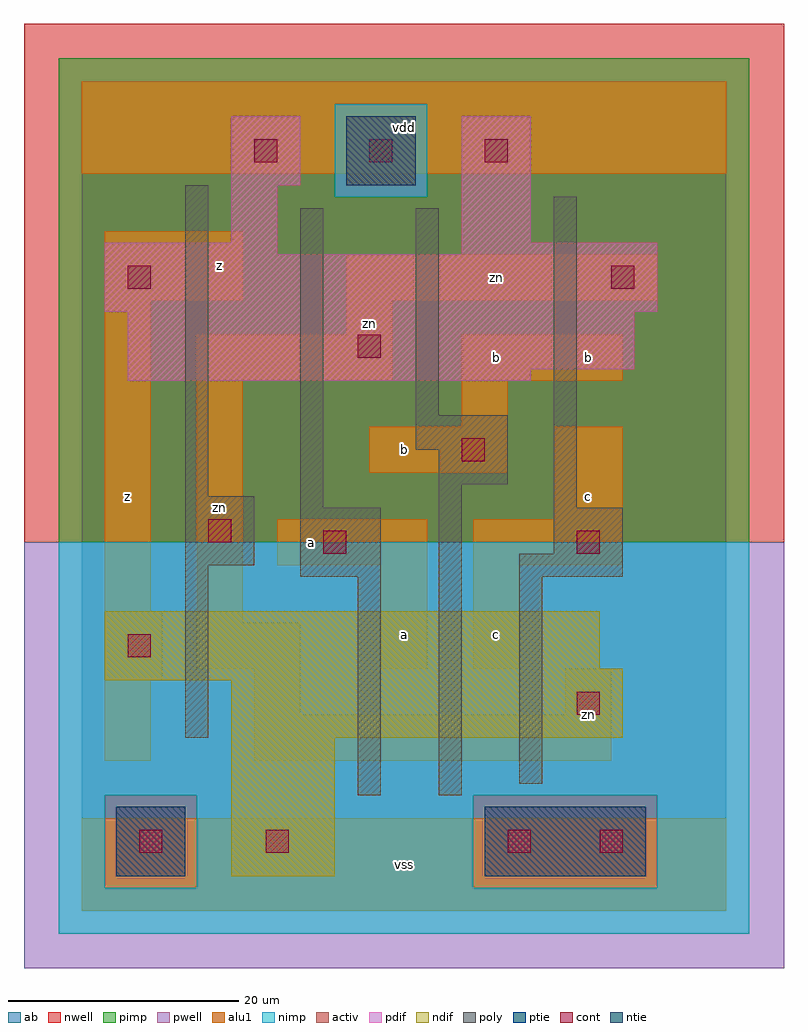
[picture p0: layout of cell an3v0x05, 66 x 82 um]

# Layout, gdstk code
import gdstk
lib = gdstk.Library(unit=1e-6, precision=1e-09)
def R(c, l, rs):  # rectangles x0, y0, x1, y1
    for r in rs: c.add(gdstk.rectangle(r[:2], r[2:], *l))
def A(c, l, x, y, w, h, nx, ny, dx, dy):  # array of equal rectangles
    R(c, l, [(x+i*dx, y+j*dy, x+i*dx+w, y+j*dy+h) for i in range(nx) for j in range(ny)])
ndif = (3, 0)
pdif = (4, 0)
ntie = (5, 0)
ptie = (6, 0)
cont = (25, 0)
pwell = (41, 0)
nwell = (42, 0)
activ = (43, 0)
pimp = (44, 0)
nimp = (45, 0)
poly = (46, 0)
alu1 = (49, 0)
ab = (63, 0)

an3v0x05 = lib.new_cell('an3v0x05')
R(an3v0x05, ndif, [(13,3,22,15), (13,15,47,20), (2,20,47,21), (2,21,45,26)])
R(an3v0x05, pdif, [(4,46,39,47), (4,47,48,52), (2,52,50,57), (2,57,17,58), (33,57,50,58), (13,58,17,63), (33,58,39,69), (13,63,19,69)])
R(an3v0x05, ntie, [(23,63,29,69)])
R(an3v0x05, ptie, [(3,3,9,9), (35,3,49,9)])
A(an3v0x05, cont, 15, 65, 2, 2, 3, 1, 10, 0)
R(an3v0x05, cont, [(5,5,7,7), (16,5,18,7), (37,5,39,7), (45,5,47,7), (43,17,45,19), (4,22,6,24), (21,31,23,33), (43,31,45,33), (11,32,13,34), (33,39,35,41), (24,48,26,50), (4,54,6,56), (46,54,48,56)])
R(an3v0x05, pwell, [(-5,-5,61,32)])
R(an3v0x05, nwell, [(-5,32,61,77)])
R(an3v0x05, activ, [(3,3,9,9), (13,3,22,15), (35,3,49,9), (13,15,47,20), (2,20,47,21), (2,21,45,26), (4,46,39,47), (4,47,48,52), (2,52,50,57), (2,57,17,58), (33,57,50,58), (13,58,17,63), (33,58,39,69), (13,63,19,69), (23,63,29,69)])
R(an3v0x05, pimp, [(2,2,10,10), (34,2,50,10), (-2,32,58,62), (-2,62,22,70), (30,62,58,70), (-2,70,58,74)])
R(an3v0x05, nimp, [(-2,-2,58,2), (-2,2,2,10), (10,2,34,10), (50,2,58,10), (-2,10,58,32), (22,62,30,70)])
R(an3v0x05, poly, [(24,10,26,29), (31,10,33,37), (38,11,40,29), (9,15,11,30), (19,29,26,35), (38,29,47,31), (9,30,15,36), (41,31,47,35), (19,35,21,61), (41,35,43,62), (9,36,11,63), (31,37,37,40), (29,40,37,43), (29,43,31,61)])
R(an3v0x05, alu1, [(0,0,56,8), (2,13,6,20), (15,13,46,17), (15,17,19,21), (42,17,46,21), (2,20,7,26), (10,21,19,25), (26,21,30,30), (34,21,38,30), (10,25,14,46), (2,26,6,53), (17,30,30,34), (34,30,47,34), (41,34,47,42), (25,38,37,42), (33,42,37,46), (10,46,27,50), (33,46,47,50), (23,50,27,53), (2,53,14,59), (23,53,50,57), (0,64,56,72)])
R(an3v0x05, ab, [(0,0,56,72)])
an3v0x05.add(gdstk.Label('zn', (12,35), layer=49, texttype=0))
an3v0x05.add(gdstk.Label('zn', (25,51), layer=49, texttype=0))
an3v0x05.add(gdstk.Label('zn', (44,17), layer=49, texttype=0))
an3v0x05.add(gdstk.Label('zn', (36,55), layer=49, texttype=0))
an3v0x05.add(gdstk.Label('z', (4,36), layer=49, texttype=0))
an3v0x05.add(gdstk.Label('a', (20,32), layer=49, texttype=0))
an3v0x05.add(gdstk.Label('z', (12,56), layer=49, texttype=0))
an3v0x05.add(gdstk.Label('vss', (28,4), layer=49, texttype=0))
an3v0x05.add(gdstk.Label('a', (28,24), layer=49, texttype=0))
an3v0x05.add(gdstk.Label('c', (36,24), layer=49, texttype=0))
an3v0x05.add(gdstk.Label('b', (28,40), layer=49, texttype=0))
an3v0x05.add(gdstk.Label('b', (36,48), layer=49, texttype=0))
an3v0x05.add(gdstk.Label('vdd', (28,68), layer=49, texttype=0))
an3v0x05.add(gdstk.Label('c', (44,36), layer=49, texttype=0))
an3v0x05.add(gdstk.Label('b', (44,48), layer=49, texttype=0))

lib.write_gds('an3v0x05.gds')
